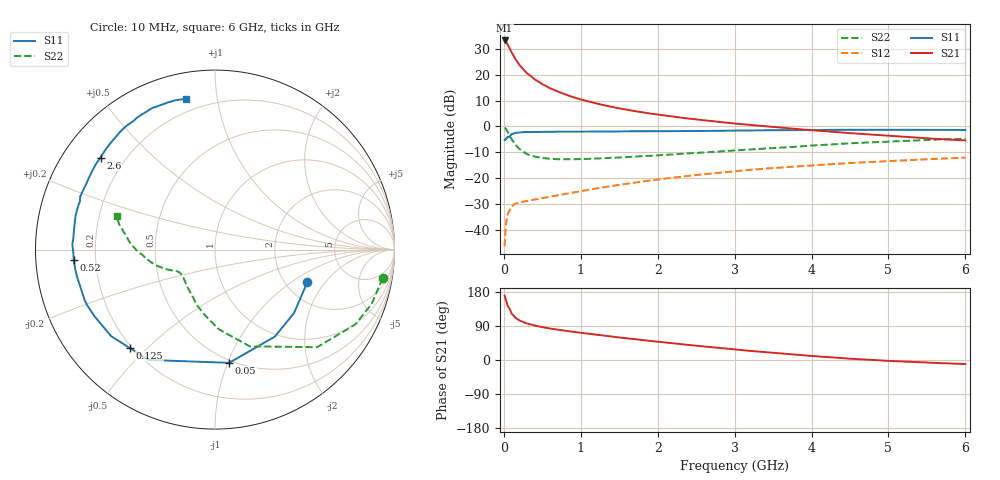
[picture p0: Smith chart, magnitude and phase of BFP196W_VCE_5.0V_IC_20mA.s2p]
! Infineon Technologies  Discrete & RF Semiconductors
! BFP196W
! VCE = 5.0 V,  IC =  20mA
! Common Emitter S-Parameters:  Jan 2016
# GHz  S  MA  R  50
!  f  S11  S21  S12  S22
! GHz  MAG  ANG  MAG  ANG  MAG  ANG  MAG  ANG
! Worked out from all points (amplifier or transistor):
!   210 points, 10 MHz to 6 GHz, reference 50 ohm
!   highest |S21| = 33.2 dB at 10 MHz (marker M1)
!   |S21| within 3 dB of that: start of sweep to 74.55 MHz
!   unconditionally stable (mu >= 1): 896.7 MHz to 3.306 GHz
!   at 185 MHz: K = 0.33, MSG = 27.0 dB, |S12| = -29.5 dB
!   at 1.52 GHz: K = 1.13, MAG = 12.4 dB, |S12| = -22.4 dB
!   at 6 GHz: K = 0.94, MSG = 3.3 dB, |S12| = -12.0 dB
!   S11 on the Smith chart (normalised r, x): 10 MHz: 2.60, -1.36; 50 MHz: 0.48, -1.01; 125 MHz: 0.19, -0.44; 520 MHz: 0.12, -0.04; 2.6 GHz: 0.11, +0.35; 6 GHz: 0.13, +0.82
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0.01  0.5455 -19.6  45.6 170.1  0.0049 81.8  0.9478 -9.7
0.02  0.5646 -38.8  45.11 163.6  0.0096 75.4  0.9236 -19.2
0.03  0.5883 -55.5  43.25 156.3  0.0139 68.9  0.8865 -28.0
0.05  0.6358 -82.9  38.33 143.1  0.0203 57.4  0.787 -43.7
0.1  0.7179 -121.1  27.02 122.8  0.0285 41.4  0.5729 -70.2
0.125  0.7254 -130.9  23.38 117.9  0.0304 37.7  0.5033 -77.6
0.15  0.7533 -140.2  19.96 111.3  0.0324 34.4  0.4446 -87.2
0.2  0.767 -150.9  15.51 104.6  0.0341 32.1  0.3688 -98.9
0.24  0.7765 -156.4  13.29 101.0  0.0351 31.4  0.3346 -105.8
0.3  0.7781 -163.0  10.66 96.4  0.0365 31.7  0.2928 -114.7
0.4  0.7848 -169.9  8.11 90.8  0.0389 33.0  0.2628 -124.8
0.52  0.7888 -175.7  6.328 86.0  0.042 36.1  0.2446 -133.0
0.6  0.7892 -178.7  5.467 83.0  0.0442 38.2  0.2374 -137.0
0.7  0.7954 178.0  4.727 80.0  0.0469 40.7  0.2331 -140.4
1.02  0.7945 170.0  3.252 71.3  0.0572 46.4  0.2351 -147.1
1.4  0.8003 162.3  2.39 61.7  0.0709 50.4  0.2478 -151.0
2.02  0.8081 150.8  1.677 47.9  0.0955 52.4  0.2784 -156.0
2.6  0.8183 141.2  1.316 35.6  0.1198 51.0  0.3158 -161.7
3.1  0.833 133.2  1.104 26.1  0.1413 48.4  0.3525 -167.3
4.1  0.8555 119.0  0.826 9.3  0.1813 41.9  0.4366 -179.4
5.1  0.8606 108.0  0.645 -3.2  0.2178 34.6  0.5183 169.0
6  0.8564 100.7  0.537 -10.7  0.2506 28.4  0.5789 161.4
